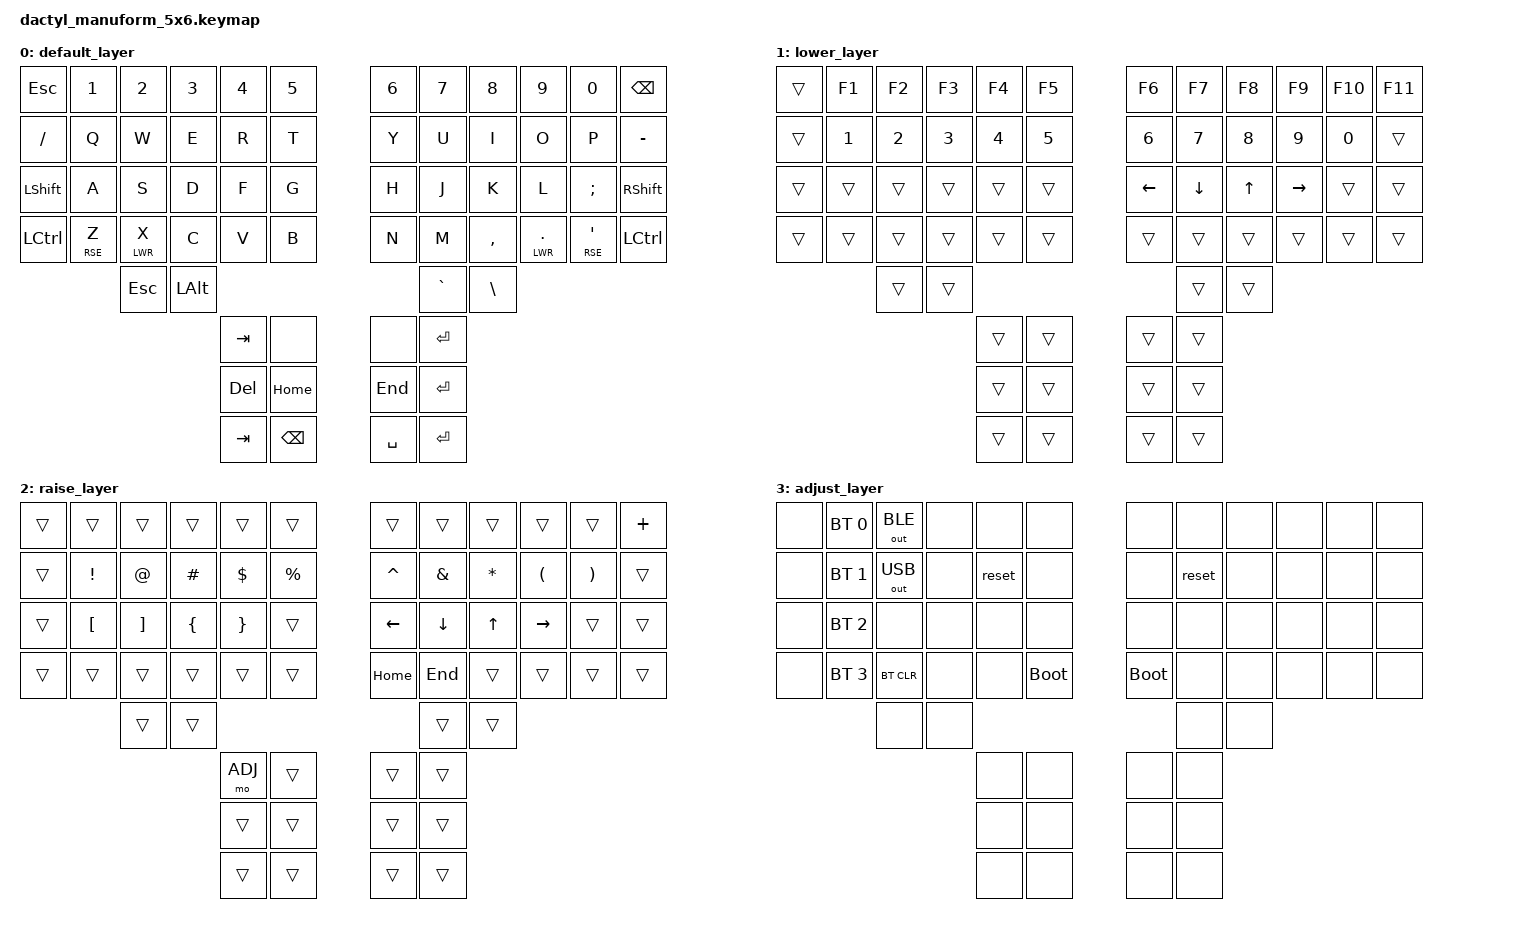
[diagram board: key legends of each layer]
#include <behaviors.dtsi>
#include <dt-bindings/zmk/keys.h>
#include <dt-bindings/zmk/bt.h>
#include <dt-bindings/zmk/outputs.h>
#include <dt-bindings/led/led.h>

#define DEFAULT 0
#define LWR 1
#define RSE 2
#define ADJ 3

/ {
    keymap {
        compatible = "zmk,keymap";

        default_layer {
            bindings = <
                &kp ESC   &kp N1    &kp N2 &kp N3 &kp N4 &kp N5              &kp N6 &kp N7 &kp N8    &kp N9  &kp N0   &kp BSPC
                &kp FSLH  &kp Q     &kp W  &kp E  &kp R  &kp T               &kp Y  &kp U  &kp I     &kp O   &kp P    &kp MINUS
                &kp LSHFT &kp A     &kp S  &kp D  &kp F &kp G                &kp H  &kp J  &kp K     &kp L   &kp SEMI &kp RSHFT
                &kp LCTRL &lt RSE Z &lt LWR X   &kp C  &kp V  &kp B           &kp N  &kp M  &kp COMMA &lt LWR DOT &lt RSE SQT &kp LCTRL
                                   &kp ESC &kp LALT                           &kp GRAVE &kp BSLH
                                               &kp TAB  &none                &none    &kp RET
                                               &kp DEL  &kp HOME            &kp END  &kp RET
                                               &kp TAB &kp BSPC            &kp SPACE &kp RET
            >;
        };

        lower_layer {
            bindings = <
                &trans  &kp F1 &kp F2 &kp F3 &kp F4 &kp F5                &kp F6 &kp F7   &kp F8   &kp F9 &kp F10   &kp F11
                &trans  &kp N1 &kp N2 &kp N3 &kp N4 &kp N5                &kp N6 &kp N7   &kp N8   &kp N9 &kp N0    &trans
                &trans  &trans &trans &trans &trans &trans                &kp LEFT &kp DOWN &kp UP &kp RIGHT &trans &trans
                &trans  &trans &trans &trans &trans &trans                &trans &trans &trans   &trans &trans    &trans
                               &trans &trans                                              &trans &trans
                                             &trans &trans                &trans &trans
                                             &trans &trans                &trans &trans
                                             &trans &trans                &trans &trans
            >;
        };

        raise_layer {
            bindings = <
                &trans  &trans   &trans &trans   &trans     &trans                &trans    &trans   &trans   &trans   &trans   &kp PLUS
                &trans  &kp EXCL &kp AT &kp HASH &kp DLLR   &kp PRCNT             &kp CARET &kp AMPS &kp STAR &kp LPAR &kp RPAR &trans
                &trans  &kp LBKT &kp RBKT &kp LBRC &kp RBRC &trans                &kp LEFT  &kp DOWN &kp UP   &kp RIGHT &trans  &trans
                &trans  &trans   &trans &trans   &trans     &trans                &kp HOME  &kp END  &trans   &trans   &trans   &trans
                                 &trans &trans                                                     &trans   &trans
                                                 &mo ADJ    &trans               &trans     &trans
                                                 &trans     &trans               &trans     &trans
                                                 &trans     &trans               &trans     &trans
            >;
        };

        adjust_layer {
            bindings = <
                &none &bt BT_SEL 0 &out OUT_BLE &none &none  &none            &none       &none  &none &none &none &none
                &none &bt BT_SEL 1 &out OUT_USB &none &reset &none            &none       &reset &none &none &none &none
                &none &bt BT_SEL 2 &none        &none &none  &none            &none       &none  &none &none &none &none
                &none &bt BT_SEL 3 &bt BT_CLR   &none &none  &bootloader      &bootloader &none  &none &none &none &none
                                   &none        &none                                            &none &none
                                                      &none &none             &none &none
                                                      &none &none             &none &none
                                                      &none &none             &none &none
            >;
        };
    };
};
